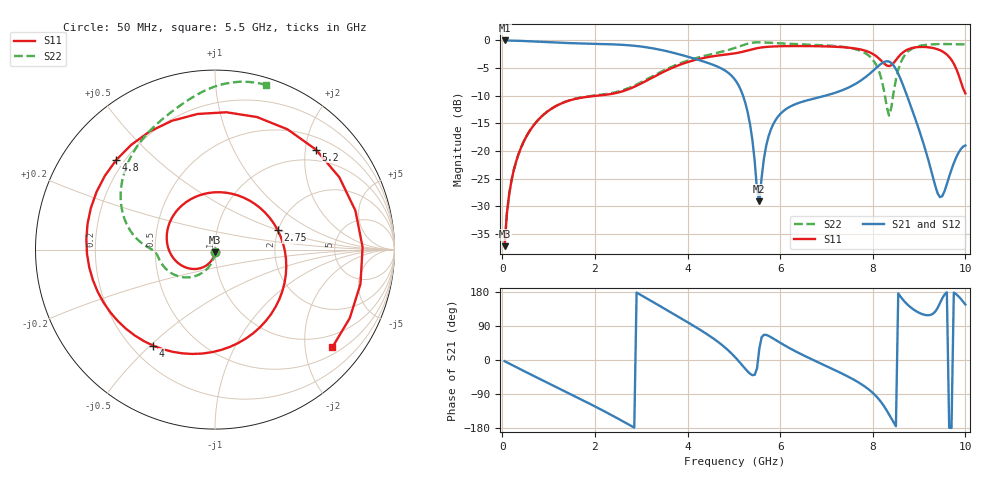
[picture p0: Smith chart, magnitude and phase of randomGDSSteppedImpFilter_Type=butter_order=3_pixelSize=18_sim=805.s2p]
! freq	dB(S11)	phase(S11)	dB(S12)	phase(S12)
!  dB(S21)	phase(S21)	dB(S22)	phase(S22)
!S-par simulation data
#  GHz  S  DB  R 50
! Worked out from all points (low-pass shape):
!   200 points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, 50 MHz to 10 GHz, reference 50 ohm
!   highest |S21| = -0.01 dB at 50 MHz (marker M1); lowest = -29.1 dB at 5.55 GHz (marker M2)
!   |S21| within 3 dB of the highest: start of sweep to 4.031 GHz
!   lowest |S11| = -37.2 dB at 50 MHz (marker M3), VSWR 1.03, Z = 49.9 - j1.38 ohm
!   |S11| at or under -10 dB: start of sweep to 2.049 GHz
!   |S22| runs from -37.2 to -0.3 dB; largest |S21 - S12| = 0
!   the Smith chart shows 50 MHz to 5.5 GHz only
!   S11 on the Smith chart (normalised r, x): 50 MHz: 1.00, -0.03; 2.75 GHz: 1.99, +0.50; 4 GHz: 0.28, -0.51; 4.8 GHz: 0.17, +0.38; 5.2 GHz: 0.74, +2.22; 5.5 GHz: 0.66, -2.61
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0.05  -37.19 -93.4  -0.01 -3.2  -0.01 -3.2  -37.17 -92.1
0.2  -25.28 -105.0  -0.03 -12.6  -0.03 -12.6  -25.26 -100.2
0.5  -17.68 -127.8  -0.12 -31.1  -0.12 -31.1  -17.66 -115.3
1.75  -10.30 130.7  -0.56 -107.0  -0.56 -107.0  -10.23 -165.7
2.75  -8.74 17.5  -0.89 -171.7  -0.89 -171.7  -8.53 178.0
3.4  -6.02 -59.9  -1.67 142.7  -1.67 142.7  -5.80 163.8
4  -3.92 -122.8  -2.93 99.8  -2.93 99.8  -3.67 141.1
4.8  -2.58 137.7  -5.39 34.0  -5.39 34.0  -1.91 108.0
5.05  -2.29 85.3  -7.40 4.4  -7.40 4.4  -1.28 97.5
5.2  -2.03 44.8  -10.02 -16.6  -10.02 -16.6  -0.84 90.2
5.5  -1.40 -39.9  -26.97 -22.5  -26.97 -22.5  -0.34 72.8
5.55  -1.33 -51.9  -29.09 29.5  -29.09 29.5  -0.34 69.9
5.75  -1.14 -92.0  -17.33 63.7  -17.33 63.7  -0.40 59.1
6.05  -1.04 -133.5  -12.92 41.8  -12.92 41.8  -0.55 44.7
6.7  -1.03 170.3  -10.58 0.8  -10.58 0.8  -0.77 15.0
7.95  -2.22 91.1  -5.90 -81.4  -5.90 -81.4  -3.01 -63.2
8.35  -4.65 81.9  -3.82 -143.3  -3.82 -143.3  -13.59 162.7
8.55  -3.02 82.7  -6.02 175.8  -6.02 175.8  -5.31 49.1
8.8  -1.49 64.7  -11.38 140.8  -11.38 140.8  -1.74 4.1
9.45  -1.76 5.2  -28.33 149.8  -28.33 149.8  -0.66 -43.1
9.8  -5.07 -56.1  -21.17 173.8  -21.17 173.8  -0.69 -58.3
10  -9.57 -136.8  -18.99 146.4  -18.99 146.4  -0.73 -65.7
